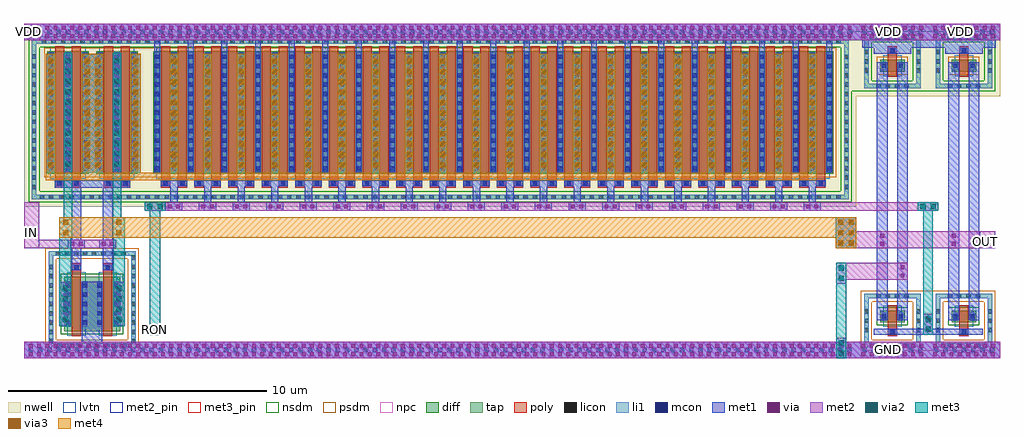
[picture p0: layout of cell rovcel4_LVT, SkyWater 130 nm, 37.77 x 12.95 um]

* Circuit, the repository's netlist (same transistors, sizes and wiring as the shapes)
** sch_path: /foss/designs/RO_Aging_UNICASS/LVT/rovcel4_LVT/rovcel4_LVT.sch
.subckt rovcel4_LVT VDD OUT GND RON IN
*.PININFO OUT:B RON:B IN:B GND:B VDD:B
M1 OUT IN GND GND sky130_fd_pr__nfet_01v8_lvt L=0.35 W=2.1 nf=1 m=2
M2 OUT IN net1 VDD sky130_fd_pr__pfet_01v8_lvt L=0.35 W=4.75 nf=1 m=4
M3 net1 RON VDD VDD sky130_fd_pr__pfet_01v8_lvt L=0.35 W=4.75 nf=1 m=40
* noconn #net2
x2 VDD OUT net2 RON GND VDD passgate_LVT
x3 VDD OUT GND RON GND VDD passgate_LVT
.ends

* expanding   symbol:  /foss/designs/RO_Aging_UNICASS/LVT/passgate_LVT/passgate_LVT.sym # of pins=6
** sym_path: /foss/designs/RO_Aging_UNICASS/LVT/passgate_LVT/passgate_LVT.sym
** sch_path: /foss/designs/RO_Aging_UNICASS/LVT/passgate_LVT/passgate_LVT.sch
.subckt passgate_LVT CLKN IN OUT CLK GND VDD
*.PININFO CLKN:B CLK:B IN:B OUT:B VDD:B GND:B
M3 IN CLK OUT GND sky130_fd_pr__nfet_01v8_lvt L=0.35 W=0.45 nf=1 m=1
M1 IN CLKN OUT VDD sky130_fd_pr__pfet_01v8_lvt L=0.35 W=0.45 nf=1 m=1
.ends

.end

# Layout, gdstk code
from math import pi, radians
import gdstk
lib = gdstk.Library(unit=1e-6, precision=1e-09)
def R(c, l, rs):  # rectangles x0, y0, x1, y1
    for r in rs: c.add(gdstk.rectangle(r[:2], r[2:], *l))
def A(c, l, x, y, w, h, nx, ny, dx, dy):  # array of equal rectangles
    R(c, l, [(x+i*dx, y+j*dy, x+i*dx+w, y+j*dy+h) for i in range(nx) for j in range(ny)])
def P(c, l, *ps):  # polygons
    for p in ps: c.add(gdstk.Polygon(p, *l))
nwell = (64, 20)
diff = (65, 20)
tap = (65, 44)
poly = (66, 20)
licon = (66, 44)
li1 = (67, 20)
mcon = (67, 44)
met1 = (68, 20)
via = (68, 44)
met2_pin = (69, 16)
met2 = (69, 20)
via2 = (69, 44)
met3_pin = (70, 16)
met3 = (70, 20)
via3 = (70, 44)
met4 = (71, 20)
nsdm = (93, 44)
psdm = (94, 20)
npc = (95, 20)
lvtn = (125, 44)

vias_gen_38 = lib.new_cell('vias_gen$38')
R(vias_gen_38, li1, [(0,0,32.205,0.64)])
A(vias_gen_38, mcon, 0.175, 0.235, 0.17, 0.17, 89, 1, 0.36, 0)
R(vias_gen_38, met1, [(0,0,32.205,0.64)])
A(vias_gen_38, via, 0.185, 0.085, 0.15, 0.15, 100, 2, 0.32, 0.32)
R(vias_gen_38, met2, [(0,0,32.205,0.64)])

pfet_4 = lib.new_cell('pfet$4')
R(pfet_4, nwell, [(-0.305,-0.72,1.255,5.13)])
R(pfet_4, diff, [(0,0,0.95,4.75)])
R(pfet_4, poly, [(0.3,-0.53,0.65,-0.2), (0.3,-0.2,0.65,4.95)])
A(pfet_4, licon, 0.065, 0.13, 0.17, 0.17, 1, 13, 0, 0.36)
A(pfet_4, licon, 0.715, 0.13, 0.17, 0.17, 1, 13, 0, 0.36)
R(pfet_4, licon, [(0.39,-0.45,0.56,-0.28)])
R(pfet_4, li1, [(0.31,-0.45,0.64,-0.28), (0.065,0.05,0.235,4.7), (0.715,0.05,0.885,4.7)])
A(pfet_4, mcon, 0.065, 0.13, 0.17, 0.17, 1, 13, 0, 0.36)
A(pfet_4, mcon, 0.715, 0.13, 0.17, 0.17, 1, 13, 0, 0.36)
R(pfet_4, mcon, [(0.39,-0.45,0.56,-0.28)])
R(pfet_4, met1, [(0.29,-0.48,0.66,-0.25), (0.035,0.07,0.265,4.68), (0.685,0.07,0.915,4.68)])
R(pfet_4, psdm, [(-0.125,-0.125,1.075,4.875)])
R(pfet_4, npc, [(0.29,-0.54,0.66,-0.19)])
R(pfet_4, lvtn, [(0.12,-0.18,0.83,4.93)])

vias_gen_32 = lib.new_cell('vias_gen$32')
R(vias_gen_32, met1, [(0,0,0.66,0.42)])
R(vias_gen_32, via, [(0.095,0.135,0.245,0.285), (0.415,0.135,0.565,0.285)])
R(vias_gen_32, met2, [(0,0,0.66,0.42)])

vias_gen_41 = lib.new_cell('vias_gen$41')
R(vias_gen_41, met2, [(0,0,0.8,1.2)])
A(vias_gen_41, via2, 0.1, 0.1, 0.2, 0.2, 1, 3, 0, 0.4)
A(vias_gen_41, via2, 0.5, 0.1, 0.2, 0.2, 1, 3, 0, 0.4)
R(vias_gen_41, met3, [(0,0,0.8,1.2)])
A(vias_gen_41, via3, 0.1, 0.1, 0.2, 0.2, 1, 3, 0, 0.4)
A(vias_gen_41, via3, 0.5, 0.1, 0.2, 0.2, 1, 3, 0, 0.4)
R(vias_gen_41, met4, [(0,0,0.8,1.2)])

vias_gen_33 = lib.new_cell('vias_gen$33')
R(vias_gen_33, met1, [(0,0,0.66,0.33)])
R(vias_gen_33, via, [(0.095,0.09,0.245,0.24), (0.415,0.09,0.565,0.24)])
R(vias_gen_33, met2, [(0,0,0.66,0.33)])

vias_gen_22 = lib.new_cell('vias_gen$22')
R(vias_gen_22, met1, [(0,0,4.61,0.33)])
A(vias_gen_22, via, 0.15, 0.09, 0.15, 0.15, 14, 1, 0.32, 0)
R(vias_gen_22, met2, [(0,0,4.61,0.33)])
A(vias_gen_22, via2, 0.205, 0.065, 0.2, 0.2, 11, 1, 0.4, 0)
R(vias_gen_22, met3, [(0,0,4.61,0.33)])
A(vias_gen_22, via3, 0.205, 0.065, 0.2, 0.2, 11, 1, 0.4, 0)
R(vias_gen_22, met4, [(0,0,4.61,0.33)])

vias_gen_36 = lib.new_cell('vias_gen$36')
R(vias_gen_36, met2, [(0,0,0.8,0.33)])
R(vias_gen_36, via2, [(0.1,0.065,0.3,0.265), (0.5,0.065,0.7,0.265)])
R(vias_gen_36, met3, [(0,0,0.8,0.33)])

vias_gen_24 = lib.new_cell('vias_gen$24')
R(vias_gen_24, met1, [(0,0,0.38,4.61)])
A(vias_gen_24, via, 0.115, 0.15, 0.15, 0.15, 1, 14, 0, 0.32)
R(vias_gen_24, met2, [(0,0,0.38,4.61)])
A(vias_gen_24, via2, 0.09, 0.205, 0.2, 0.2, 1, 11, 0, 0.4)
R(vias_gen_24, met3, [(0,0,0.38,4.61)])
A(vias_gen_24, via3, 0.09, 0.205, 0.2, 0.2, 1, 11, 0, 0.4)
R(vias_gen_24, met4, [(0,0,0.38,4.61)])

vias_gen_34 = lib.new_cell('vias_gen$34')
R(vias_gen_34, met3, [(0,0,0.5,0.8)])
R(vias_gen_34, via3, [(0.15,0.1,0.35,0.3), (0.15,0.5,0.35,0.7)])
R(vias_gen_34, met4, [(0,0,0.5,0.8)])

vias_gen = lib.new_cell('vias_gen')

vias_gen_16 = lib.new_cell('vias_gen$16')
R(vias_gen_16, met1, [(0,0,4.61,0.33)])
A(vias_gen_16, via, 0.15, 0.09, 0.15, 0.15, 14, 1, 0.32, 0)
R(vias_gen_16, met2, [(0,0,4.61,0.33)])
A(vias_gen_16, via2, 0.205, 0.065, 0.2, 0.2, 11, 1, 0.4, 0)
R(vias_gen_16, met3, [(0,0,4.61,0.33)])

vias_gen_31 = lib.new_cell('vias_gen$31')
R(vias_gen_31, met3, [(0,0,0.47,0.8)])
R(vias_gen_31, via3, [(0.135,0.1,0.335,0.3), (0.135,0.5,0.335,0.7)])
R(vias_gen_31, met4, [(0,0,0.47,0.8)])

vias_gen_23 = lib.new_cell('vias_gen$23')
R(vias_gen_23, met1, [(0,0,0.82,4.61)])
A(vias_gen_23, via, 0.175, 0.15, 0.15, 0.15, 1, 14, 0, 0.32)
A(vias_gen_23, via, 0.495, 0.15, 0.15, 0.15, 1, 14, 0, 0.32)
R(vias_gen_23, met2, [(0,0,0.82,4.61)])
A(vias_gen_23, via2, 0.11, 0.205, 0.2, 0.2, 1, 11, 0, 0.4)
A(vias_gen_23, via2, 0.51, 0.205, 0.2, 0.2, 1, 11, 0, 0.4)
R(vias_gen_23, met3, [(0,0,0.82,4.61)])
A(vias_gen_23, via3, 0.11, 0.205, 0.2, 0.2, 1, 11, 0, 0.4)
A(vias_gen_23, via3, 0.51, 0.205, 0.2, 0.2, 1, 11, 0, 0.4)
R(vias_gen_23, met4, [(0,0,0.82,4.61)])

vias_gen_7 = lib.new_cell('vias_gen$7')

vias_gen_6 = lib.new_cell('vias_gen$6')

pfet_2 = lib.new_cell('pfet$2')

vias_gen_2 = lib.new_cell('vias_gen$2')

vias_gen_10 = lib.new_cell('vias_gen$10')

vias_gen_12 = lib.new_cell('vias_gen$12')
R(vias_gen_12, met1, [(0,0,1.73,0.45)])
A(vias_gen_12, via, 0.15, 0.15, 0.15, 0.15, 5, 1, 0.32, 0)
R(vias_gen_12, met2, [(0,0,1.73,0.45)])
A(vias_gen_12, via2, 0.165, 0.125, 0.2, 0.2, 4, 1, 0.4, 0)
R(vias_gen_12, met3, [(0,0,1.73,0.45)])

nfet = lib.new_cell('nfet')
R(nfet, diff, [(0,0,0.95,2.1)])
R(nfet, poly, [(0.3,-0.2,0.65,2.3), (0.3,2.3,0.65,2.63)])
A(nfet, licon, 0.065, 0.245, 0.17, 0.17, 1, 5, 0, 0.36)
A(nfet, licon, 0.715, 0.245, 0.17, 0.17, 1, 5, 0, 0.36)
R(nfet, licon, [(0.39,2.38,0.56,2.55)])
R(nfet, li1, [(0.065,0.165,0.235,1.935), (0.715,0.165,0.885,1.935), (0.31,2.38,0.64,2.55)])
A(nfet, mcon, 0.065, 0.245, 0.17, 0.17, 1, 5, 0, 0.36)
A(nfet, mcon, 0.715, 0.245, 0.17, 0.17, 1, 5, 0, 0.36)
R(nfet, mcon, [(0.39,2.38,0.56,2.55)])
R(nfet, met1, [(0.035,0.185,0.265,1.915), (0.685,0.185,0.915,1.915), (0.29,2.35,0.66,2.58)])
R(nfet, nsdm, [(-0.125,-0.125,1.075,2.225)])
R(nfet, npc, [(0.29,2.29,0.66,2.64)])
R(nfet, lvtn, [(0.12,-0.18,0.83,2.28)])

nfet_2 = lib.new_cell('nfet$2')

vias_gen_37 = lib.new_cell('vias_gen$37')
R(vias_gen_37, met2, [(0,0,0.4,0.8)])
R(vias_gen_37, via2, [(0.1,0.1,0.3,0.3), (0.1,0.5,0.3,0.7)])
R(vias_gen_37, met3, [(0,0,0.4,0.8)])

vias_gen_43 = lib.new_cell('vias_gen$43')
R(vias_gen_43, met1, [(0,0,0.37,0.8)])
R(vias_gen_43, via, [(0.11,0.165,0.26,0.315), (0.11,0.485,0.26,0.635)])
R(vias_gen_43, met2, [(0,0,0.37,0.8)])
R(vias_gen_43, via2, [(0.085,0.1,0.285,0.3), (0.085,0.5,0.285,0.7)])
R(vias_gen_43, met3, [(0,0,0.37,0.8)])

rovcel4_lvt = lib.new_cell('rovcel4_LVT')
R(rovcel4_lvt, nwell, [(-23.85,4.965,8.355,11.745), (8.355,9.255,11.145,11.935), (11.125,9.255,13.915,11.935)])
R(rovcel4_lvt, diff, [(-21.345,0.16,-21.085,2.26), (9.275,0.505,10.225,0.955), (12.045,0.505,12.995,0.955), (9.275,10.2,10.225,10.65), (12.045,10.2,12.995,10.65)])
R(rovcel4_lvt, tap, [(-22.895,-0.475,-22.725,3.245), (-22.725,-0.475,-19.705,-0.305), (-19.705,-0.475,-19.535,3.245), (-22.725,3.075,-19.705,3.245), (-23.545,5.27,8.055,5.44), (-23.375,5.27,-19.495,5.44), (7.885,5.27,8.055,11.27), (-23.545,5.275,-23.375,11.275), (-23.545,11.27,8.055,11.44)])
P(rovcel4_lvt, tap, [(11.43,-0.475),(11.43,1.425),(11.6,1.425),(11.6,-0.305),(13.44,-0.305),(13.44,1.425),(11.43,1.425),(11.43,1.595),(13.61,1.595),(13.61,-0.475)],
  [(8.66,9.56),(8.66,11.46),(8.83,11.46),(8.83,9.73),(10.67,9.73),(10.67,11.46),(8.66,11.46),(8.66,11.63),(10.84,11.63),(10.84,9.56)],
  [(11.43,9.56),(11.43,11.46),(11.6,11.46),(11.6,9.73),(13.44,9.73),(13.44,11.46),(11.43,11.46),(11.43,11.63),(13.61,11.63),(13.61,9.56)],
  [(8.66,-0.475),(8.66,1.425),(8.83,1.425),(8.83,-0.305),(10.67,-0.305),(10.67,1.425),(8.66,1.425),(8.66,1.595),(10.84,1.595),(10.84,-0.475)])
R(rovcel4_lvt, poly, [(9.575,-0.025,9.925,0.305), (12.345,-0.025,12.695,0.305), (9.575,0.305,9.925,1.155), (12.345,0.305,12.695,1.155), (9.575,10,9.925,10.85), (12.345,10,12.695,10.85), (9.575,10.85,9.925,11.18), (12.345,10.85,12.695,11.18)])
A(rovcel4_lvt, licon, -21.81, -0.475, 0.17, 0.17, 3, 1, 0.36, 0)
A(rovcel4_lvt, licon, 9.125, -0.475, 0.17, 0.17, 4, 2, 0.36, 1.9)
A(rovcel4_lvt, licon, 11.895, -0.475, 0.17, 0.17, 4, 2, 0.36, 1.9)
A(rovcel4_lvt, licon, -22.895, 0.04, 0.17, 0.17, 1, 8, 0, 0.36)
A(rovcel4_lvt, licon, -19.705, 0.04, 0.17, 0.17, 1, 8, 0, 0.36)
A(rovcel4_lvt, licon, 8.66, 0.115, 0.17, 0.17, 1, 3, 0, 0.36)
A(rovcel4_lvt, licon, 10.67, 0.115, 0.17, 0.17, 1, 3, 0, 0.36)
A(rovcel4_lvt, licon, 11.43, 0.115, 0.17, 0.17, 1, 3, 0, 0.36)
A(rovcel4_lvt, licon, 13.44, 0.115, 0.17, 0.17, 1, 3, 0, 0.36)
A(rovcel4_lvt, licon, -22.62, 3.075, 0.17, 0.17, 3, 1, 0.345, 0)
A(rovcel4_lvt, licon, -21.675, 5.27, 0.17, 0.17, 7, 2, 0.36, 6)
A(rovcel4_lvt, licon, -18.79, 5.27, 0.17, 0.17, 3, 2, 0.38, 6)
A(rovcel4_lvt, licon, -17.67, 5.27, 0.17, 0.17, 9, 2, 0.36, 6)
A(rovcel4_lvt, licon, -14.03, 5.27, 0.17, 0.17, 8, 2, 0.36, 6)
A(rovcel4_lvt, licon, -10.725, 5.27, 0.17, 0.17, 3, 2, 0.38, 6)
A(rovcel4_lvt, licon, -9.605, 5.27, 0.17, 0.17, 9, 2, 0.36, 6)
A(rovcel4_lvt, licon, -5.965, 5.27, 0.17, 0.17, 8, 2, 0.36, 6)
A(rovcel4_lvt, licon, -3.045, 5.27, 0.17, 0.17, 6, 2, 0.36, 6)
A(rovcel4_lvt, licon, -0.46, 5.27, 0.17, 0.17, 3, 2, 0.38, 6)
A(rovcel4_lvt, licon, 0.66, 5.27, 0.17, 0.17, 9, 2, 0.36, 6)
A(rovcel4_lvt, licon, 4.3, 5.27, 0.17, 0.17, 8, 2, 0.36, 6)
A(rovcel4_lvt, licon, 7.885, 5.65, 0.17, 0.17, 1, 15, 0, 0.36)
A(rovcel4_lvt, licon, -23.545, 5.655, 0.17, 0.17, 1, 15, 0, 0.36)
A(rovcel4_lvt, licon, 9.125, 9.56, 0.17, 0.17, 4, 2, 0.36, 1.9)
A(rovcel4_lvt, licon, 11.895, 9.56, 0.17, 0.17, 4, 2, 0.36, 1.9)
A(rovcel4_lvt, licon, 8.66, 10.15, 0.17, 0.17, 1, 3, 0, 0.36)
A(rovcel4_lvt, licon, 10.67, 10.15, 0.17, 0.17, 1, 3, 0, 0.36)
A(rovcel4_lvt, licon, 11.43, 10.15, 0.17, 0.17, 1, 3, 0, 0.36)
A(rovcel4_lvt, licon, 13.44, 10.15, 0.17, 0.17, 1, 3, 0, 0.36)
A(rovcel4_lvt, licon, -22.795, 11.27, 0.17, 0.17, 3, 1, 0.38, 0)
R(rovcel4_lvt, licon, [(-20.73,-0.48,-20.56,-0.31), (-22.535,-0.475,-22.365,-0.305), (-22.175,-0.475,-22.005,-0.305), (-20.385,-0.475,-20.215,-0.305), (-20.045,-0.475,-19.875,-0.305), (-22.895,-0.305,-22.725,-0.135), (-19.705,-0.305,-19.535,-0.135), (9.665,0.055,9.835,0.225), (12.435,0.055,12.605,0.225), (9.34,0.645,9.51,0.815), (9.99,0.645,10.16,0.815), (12.11,0.645,12.28,0.815), (12.76,0.645,12.93,0.815), (-19.705,2.925,-19.535,3.095), (-20.86,3.07,-20.69,3.24), (-21.575,3.075,-21.405,3.245), (-21.225,3.075,-21.055,3.245), (-20.47,3.075,-20.3,3.245), (-20.085,3.075,-19.915,3.245), (-23.245,5.27,-23.075,5.44), (-22.885,5.27,-22.715,5.44), (-22.49,5.27,-22.32,5.44), (-22.49,5.27,-22.32,5.44), (-22.095,5.27,-21.925,5.44), (-22.095,5.27,-21.925,5.44), (-19.15,5.27,-18.98,5.44), (-14.41,5.27,-14.24,5.44), (-11.085,5.27,-10.915,5.44), (-6.345,5.27,-6.175,5.44), (-0.82,5.27,-0.65,5.44), (3.92,5.27,4.09,5.44), (7.19,5.27,7.36,5.44), (7.585,5.27,7.755,5.44), (9.34,10.34,9.51,10.51), (9.99,10.34,10.16,10.51), (12.11,10.34,12.28,10.51), (12.76,10.34,12.93,10.51), (9.665,10.93,9.835,11.1), (12.435,10.93,12.605,11.1), (-23.155,11.27,-22.985,11.44), (-19.15,11.27,-18.98,11.44), (-14.41,11.27,-14.24,11.44), (-11.085,11.27,-10.915,11.44), (-6.345,11.27,-6.175,11.44), (-0.82,11.27,-0.65,11.44), (3.92,11.27,4.09,11.44), (7.19,11.27,7.36,11.44), (7.585,11.27,7.755,11.44)])
R(rovcel4_lvt, li1, [(8.355,-0.895,11.145,-0.255), (11.125,-0.895,13.915,-0.255), (-22.895,-0.475,-22.725,3.245), (-22.725,-0.475,-19.705,-0.305), (-19.705,-0.475,-19.535,3.245), (9.585,0.055,9.915,0.225), (12.355,0.055,12.685,0.225), (9.34,0.565,9.51,0.895), (9.99,0.565,10.16,0.895), (12.11,0.565,12.28,0.895), (12.76,0.565,12.93,0.895), (-22.725,3.075,-19.705,3.245), (-23.545,5.27,8.055,5.44), (7.885,5.27,8.055,11.27), (-23.545,5.275,-23.375,11.275), (9.34,10.26,9.51,10.59), (9.99,10.26,10.16,10.59), (12.11,10.26,12.28,10.59), (12.76,10.26,12.93,10.59), (9.585,10.93,9.915,11.1), (12.355,10.93,12.685,11.1), (-23.545,11.27,8.055,11.44), (8.355,11.415,11.145,12.055), (11.125,11.415,13.915,12.055)])
P(rovcel4_lvt, li1, [(11.43,-0.475),(11.43,1.425),(11.6,1.425),(11.6,-0.305),(13.44,-0.305),(13.44,1.425),(11.43,1.425),(11.43,1.595),(13.61,1.595),(13.61,-0.475)],
  [(8.66,9.56),(8.66,11.46),(8.83,11.46),(8.83,9.73),(10.67,9.73),(10.67,11.46),(8.66,11.46),(8.66,11.63),(10.84,11.63),(10.84,9.56)],
  [(11.43,9.56),(11.43,11.46),(11.6,11.46),(11.6,9.73),(13.44,9.73),(13.44,11.46),(11.43,11.46),(11.43,11.63),(13.61,11.63),(13.61,9.56)],
  [(8.66,-0.475),(8.66,1.425),(8.83,1.425),(8.83,-0.305),(10.67,-0.305),(10.67,1.425),(8.66,1.425),(8.66,1.595),(10.84,1.595),(10.84,-0.475)])
A(rovcel4_lvt, mcon, 8.585, -0.66, 0.17, 0.17, 7, 2, 0.36, 12.31)
A(rovcel4_lvt, mcon, 11.355, -0.66, 0.17, 0.17, 7, 2, 0.36, 12.31)
R(rovcel4_lvt, mcon, [(9.665,0.055,9.835,0.225), (12.435,0.055,12.605,0.225), (9.34,0.645,9.51,0.815), (9.99,0.645,10.16,0.815), (12.11,0.645,12.28,0.815), (12.76,0.645,12.93,0.815), (9.34,10.34,9.51,10.51), (9.99,10.34,10.16,10.51), (12.11,10.34,12.28,10.51), (12.76,10.34,12.93,10.51), (9.665,10.93,9.835,11.1), (12.435,10.93,12.605,11.1)])
A(rovcel4_lvt, met1, -18.185, 5.145, 0.28, 0.845, 20, 1, 1.3, 0)
A(rovcel4_lvt, met1, -18.81, 10.92, 0.23, 0.495, 21, 1, 1.3, 0)
R(rovcel4_lvt, met1, [(8.355,-0.895,11.145,-0.255), (11.125,-0.895,13.915,-0.255), (-21.61,-0.255,-20.82,2.075), (9.025,0.025,10.475,0.255), (9.565,0.025,9.935,0.255), (10.475,0.025,11.795,0.255), (11.795,0.025,13.245,0.255), (12.335,0.025,12.705,0.255), (9.15,0.585,9.57,10.57), (9.28,0.585,9.57,0.875), (9.93,0.585,10.35,10.57), (9.93,0.585,10.22,0.875), (11.92,0.585,12.34,10.57), (12.05,0.585,12.34,0.875), (12.7,0.585,13.12,10.57), (12.7,0.585,12.99,0.875), (-22.005,2.74,-21.635,3.37), (-20.795,2.74,-20.425,3.37), (-22.005,3.7,-21.635,5.99), (-20.795,3.7,-20.425,5.99), (-22.655,5.7,-19.745,5.99), (9.28,10.28,9.57,10.57), (9.93,10.28,10.22,10.57), (12.05,10.28,12.34,10.57), (12.7,10.28,12.99,10.57), (9.025,10.9,10.475,11.13), (9.565,10.9,9.935,11.13), (11.795,10.9,13.245,11.13), (12.335,10.9,12.705,11.13), (8.58,11.13,13.76,11.415), (8.355,11.415,11.145,12.055), (11.125,11.415,13.915,12.055)])
A(rovcel4_lvt, via, 8.555, -0.81, 0.15, 0.15, 8, 2, 0.32, 0.32)
A(rovcel4_lvt, via, 11.325, -0.81, 0.15, 0.15, 8, 2, 0.32, 0.32)
A(rovcel4_lvt, via, 8.555, 11.5, 0.15, 0.15, 8, 2, 0.32, 0.32)
A(rovcel4_lvt, via, 11.325, 11.5, 0.15, 0.15, 8, 2, 0.32, 0.32)
R(rovcel4_lvt, met2_pin, [(-23.85,-0.895,8.355,-0.255), (8.355,-0.895,11.145,-0.255), (11.125,-0.895,13.915,-0.255), (-23.85,3.37,-23.26,5.15), (13.14,3.37,13.73,4.025), (-23.85,11.415,8.355,12.055), (8.355,11.415,11.145,12.055), (11.125,11.415,13.915,12.055)])
R(rovcel4_lvt, met2, [(8.355,-0.895,11.145,-0.255), (11.125,-0.895,13.915,-0.255), (7.97,2.14,9.93,2.8), (8.355,3.365,13.73,4.025), (-23.85,3.37,-20.28,3.7), (-23.85,3.7,-23.26,5.15), (-18.38,4.815,10.735,5.145), (8.355,11.415,11.145,12.055), (11.125,11.415,13.915,12.055)])
R(rovcel4_lvt, met3_pin, [(-18.98,0.005,-18.58,0.405), (-18.98,0.005,-18.58,0.405)])
R(rovcel4_lvt, met3, [(7.57,-0.095,7.97,2), (-18.98,0.005,-18.58,4.815), (10.95,0.825,11.32,4.815), (-22.48,2.075,-22.03,3.77), (-22.31,4.57,-21.98,6.31), (-20.42,4.57,-20.09,6.31)])
P(rovcel4_lvt, met3, [(-20.4,2.075),(-20.4,3.77),(-20.315,3.77),(-19.95,3.77),(-19.95,2.075)])
R(rovcel4_lvt, met4, [(-21.98,3.77,7.555,4.57), (-23.01,5.99,6.82,6.29)])
R(rovcel4_lvt, nsdm, [(-21.22,0.035,-21.21,2.385), (9.15,0.38,10.35,1.08), (11.92,0.38,13.12,1.08), (-23.67,5.145,8.18,5.565), (-23.25,5.145,8.18,5.565), (-23.67,5.565,-23.25,11.145), (7.76,5.565,8.18,11.145), (8.18,9.435,8.535,11.755), (10.965,9.435,11.305,11.755), (-23.67,11.145,8.18,11.565)])
P(rovcel4_lvt, nsdm, [(8.535,9.435),(8.535,11.335),(8.955,11.335),(8.955,9.855),(10.545,9.855),(10.545,11.335),(8.535,11.335),(8.535,11.755),(10.965,11.755),(10.965,9.435)],
  [(11.305,9.435),(11.305,11.335),(11.725,11.335),(11.725,9.855),(13.315,9.855),(13.315,11.335),(11.305,11.335),(11.305,11.755),(13.735,11.755),(13.735,9.435)])
R(rovcel4_lvt, psdm, [(-23.02,-0.6,-22.6,3.37), (-22.6,-0.6,-19.83,-0.18), (-19.83,-0.6,-19.41,3.37), (10.965,-0.6,11.305,1.72), (-22.6,2.95,-19.83,3.37), (-21.22,6.115,-18.97,11.115), (9.15,10.075,10.35,10.775), (11.92,10.075,13.12,10.775)])
P(rovcel4_lvt, psdm, [(11.305,-0.6),(11.305,1.3),(11.725,1.3),(11.725,-0.18),(13.315,-0.18),(13.315,1.3),(11.305,1.3),(11.305,1.72),(13.735,1.72),(13.735,-0.6)],
  [(8.535,-0.6),(8.535,1.3),(8.955,1.3),(8.955,-0.18),(10.545,-0.18),(10.545,1.3),(8.535,1.3),(8.535,1.72),(10.965,1.72),(10.965,-0.6)])
R(rovcel4_lvt, npc, [(9.565,-0.035,9.935,0.315), (12.335,-0.035,12.705,0.315), (9.565,10.84,9.935,11.19), (12.335,10.84,12.705,11.19)])
R(rovcel4_lvt, lvtn, [(9.395,0.325,10.105,1.135), (12.165,0.325,12.875,1.135), (9.395,10.02,10.105,10.83), (12.165,10.02,12.875,10.83)])
rovcel4_lvt.add(gdstk.Reference(vias_gen_38, (-23.85,-0.895)))
rovcel4_lvt.add(gdstk.Reference(pfet_4, (-5.845,6.24)))
rovcel4_lvt.add(gdstk.Reference(vias_gen_38, (-23.85,11.415)))
rovcel4_lvt.add(gdstk.Reference(vias_gen_32, (9.57,3.365), rotation=pi/2))
rovcel4_lvt.add(gdstk.Reference(vias_gen_32, (12.34,3.365), rotation=pi/2))
rovcel4_lvt.add(gdstk.Reference(vias_gen_41, (7.555,3.37)))
rovcel4_lvt.add(gdstk.Reference(pfet_4, (-6.495,6.24)))
rovcel4_lvt.add(gdstk.Reference(vias_gen_33, (-5.38,4.815)))
rovcel4_lvt.add(gdstk.Reference(vias_gen_22, (-4.88,6.29), rotation=pi/2))
rovcel4_lvt.add(gdstk.Reference(pfet_4, (1.955,6.24)))
rovcel4_lvt.add(gdstk.Reference(pfet_4, (2.605,6.24)))
rovcel4_lvt.add(gdstk.Reference(vias_gen_22, (1.62,6.29), rotation=pi/2))
rovcel4_lvt.add(gdstk.Reference(pfet_4, (1.305,6.24)))
rovcel4_lvt.add(gdstk.Reference(pfet_4, (0.655,6.24)))
rovcel4_lvt.add(gdstk.Reference(vias_gen_22, (0.32,6.29), rotation=pi/2))
rovcel4_lvt.add(gdstk.Reference(pfet_4, (-0.645,6.24)))
rovcel4_lvt.add(gdstk.Reference(pfet_4, (0.005,6.24)))
rovcel4_lvt.add(gdstk.Reference(vias_gen_22, (-0.98,6.29), rotation=pi/2))
rovcel4_lvt.add(gdstk.Reference(pfet_4, (-1.295,6.24)))
rovcel4_lvt.add(gdstk.Reference(pfet_4, (-1.945,6.24)))
rovcel4_lvt.add(gdstk.Reference(vias_gen_22, (-2.28,6.29), rotation=pi/2))
rovcel4_lvt.add(gdstk.Reference(pfet_4, (-3.245,6.24)))
rovcel4_lvt.add(gdstk.Reference(pfet_4, (-2.595,6.24)))
rovcel4_lvt.add(gdstk.Reference(vias_gen_22, (-3.58,6.29), rotation=pi/2))
rovcel4_lvt.add(gdstk.Reference(pfet_4, (-3.895,6.24)))
rovcel4_lvt.add(gdstk.Reference(pfet_4, (-4.545,6.24)))
rovcel4_lvt.add(gdstk.Reference(pfet_4, (6.505,6.24)))
rovcel4_lvt.add(gdstk.Reference(vias_gen_22, (6.82,6.29), rotation=pi/2))
rovcel4_lvt.add(gdstk.Reference(pfet_4, (5.855,6.24)))
rovcel4_lvt.add(gdstk.Reference(vias_gen_22, (5.52,6.29), rotation=pi/2))
rovcel4_lvt.add(gdstk.Reference(pfet_4, (4.555,6.24)))
rovcel4_lvt.add(gdstk.Reference(pfet_4, (5.205,6.24)))
rovcel4_lvt.add(gdstk.Reference(vias_gen_33, (-4.08,4.815)))
rovcel4_lvt.add(gdstk.Reference(vias_gen_33, (-2.78,4.815)))
rovcel4_lvt.add(gdstk.Reference(vias_gen_33, (-1.48,4.815)))
rovcel4_lvt.add(gdstk.Reference(vias_gen_33, (-0.18,4.815)))
rovcel4_lvt.add(gdstk.Reference(vias_gen_33, (1.12,4.815)))
rovcel4_lvt.add(gdstk.Reference(vias_gen_33, (2.42,4.815)))
rovcel4_lvt.add(gdstk.Reference(vias_gen_33, (3.72,4.815)))
rovcel4_lvt.add(gdstk.Reference(vias_gen_33, (5.02,4.815)))
rovcel4_lvt.add(gdstk.Reference(vias_gen_33, (6.32,4.815)))
rovcel4_lvt.add(gdstk.Reference(vias_gen_22, (4.22,6.29), rotation=pi/2))
rovcel4_lvt.add(gdstk.Reference(pfet_4, (3.905,6.24)))
rovcel4_lvt.add(gdstk.Reference(pfet_4, (3.255,6.24)))
rovcel4_lvt.add(gdstk.Reference(vias_gen_22, (2.92,6.29), rotation=pi/2))
rovcel4_lvt.add(gdstk.Reference(vias_gen_36, (10.735,4.815)))
rovcel4_lvt.add(gdstk.Reference(pfet_4, (-5.195,6.24)))
rovcel4_lvt.add(gdstk.Reference(pfet_4, (-9.745,6.24)))
rovcel4_lvt.add(gdstk.Reference(vias_gen_22, (-10.08,6.29), rotation=pi/2))
rovcel4_lvt.add(gdstk.Reference(pfet_4, (-11.045,6.24)))
rovcel4_lvt.add(gdstk.Reference(pfet_4, (-10.395,6.24)))
rovcel4_lvt.add(gdstk.Reference(vias_gen_22, (-11.38,6.29), rotation=pi/2))
rovcel4_lvt.add(gdstk.Reference(pfet_4, (-11.695,6.24)))
rovcel4_lvt.add(gdstk.Reference(pfet_4, (-12.345,6.24)))
rovcel4_lvt.add(gdstk.Reference(vias_gen_22, (-12.68,6.29), rotation=pi/2))
rovcel4_lvt.add(gdstk.Reference(pfet_4, (-13.645,6.24)))
rovcel4_lvt.add(gdstk.Reference(pfet_4, (-12.995,6.24)))
rovcel4_lvt.add(gdstk.Reference(vias_gen_22, (-13.98,6.29), rotation=pi/2))
rovcel4_lvt.add(gdstk.Reference(pfet_4, (-14.295,6.24)))
rovcel4_lvt.add(gdstk.Reference(pfet_4, (-14.945,6.24)))
rovcel4_lvt.add(gdstk.Reference(vias_gen_22, (-15.28,6.29), rotation=pi/2))
rovcel4_lvt.add(gdstk.Reference(pfet_4, (-16.245,6.24)))
rovcel4_lvt.add(gdstk.Reference(pfet_4, (-15.595,6.24)))
rovcel4_lvt.add(gdstk.Reference(vias_gen_22, (-16.58,6.29), rotation=pi/2))
rovcel4_lvt.add(gdstk.Reference(vias_gen_22, (-17.88,6.29), rotation=pi/2))
rovcel4_lvt.add(gdstk.Reference(pfet_4, (-16.895,6.24)))
rovcel4_lvt.add(gdstk.Reference(pfet_4, (-17.545,6.24)))
rovcel4_lvt.add(gdstk.Reference(pfet_4, (-18.845,6.24)))
rovcel4_lvt.add(gdstk.Reference(pfet_4, (-18.195,6.24)))
rovcel4_lvt.add(gdstk.Reference(vias_gen_24, (-19.72,6.29)))
rovcel4_lvt.add(gdstk.Reference(vias_gen_34, (-22.48,3.77)))
rovcel4_lvt.add(gdstk.Reference(vias_gen, (-7.835,7.67)))
rovcel4_lvt.add(gdstk.Reference(vias_gen_16, (-21.98,6.31), rotation=pi/2))
rovcel4_lvt.add(gdstk.Reference(vias_gen_33, (-18.38,4.815)))
rovcel4_lvt.add(gdstk.Reference(vias_gen_33, (-17.08,4.815)))
rovcel4_lvt.add(gdstk.Reference(vias_gen_33, (-15.78,4.815)))
rovcel4_lvt.add(gdstk.Reference(vias_gen_33, (-14.48,4.815)))
rovcel4_lvt.add(gdstk.Reference(vias_gen_33, (-13.18,4.815)))
rovcel4_lvt.add(gdstk.Reference(vias_gen_33, (-11.88,4.815)))
rovcel4_lvt.add(gdstk.Reference(vias_gen_33, (-10.58,4.815)))
rovcel4_lvt.add(gdstk.Reference(vias_gen_33, (-9.28,4.815)))
rovcel4_lvt.add(gdstk.Reference(vias_gen_33, (-7.98,4.815)))
rovcel4_lvt.add(gdstk.Reference(vias_gen_33, (-6.68,4.815)))
rovcel4_lvt.add(gdstk.Reference(pfet_4, (-22.945,6.24)))
rovcel4_lvt.add(gdstk.Reference(vias_gen_16, (-20.09,6.31), rotation=pi/2))
rovcel4_lvt.add(gdstk.Reference(vias_gen_31, (-20.42,3.77)))
rovcel4_lvt.add(gdstk.Reference(pfet_4, (-22.295,6.24)))
rovcel4_lvt.add(gdstk.Reference(pfet_4, (-21.055,6.24)))
rovcel4_lvt.add(gdstk.Reference(pfet_4, (-20.405,6.24)))
rovcel4_lvt.add(gdstk.Reference(vias_gen_23, (-21.61,6.29)))
rovcel4_lvt.add(gdstk.Reference(vias_gen_24, (-23.01,6.29)))
rovcel4_lvt.add(gdstk.Reference(vias_gen_22, (-6.18,6.29), rotation=pi/2))
rovcel4_lvt.add(gdstk.Reference(pfet_4, (-9.095,6.24)))
rovcel4_lvt.add(gdstk.Reference(vias_gen_36, (-19.18,4.815)))
rovcel4_lvt.add(gdstk.Reference(pfet_4, (-7.145,6.24)))
rovcel4_lvt.add(gdstk.Reference(vias_gen_22, (-7.48,6.29), rotation=pi/2))
rovcel4_lvt.add(gdstk.Reference(pfet_4, (-8.445,6.24)))
rovcel4_lvt.add(gdstk.Reference(pfet_4, (-7.795,6.24)))
rovcel4_lvt.add(gdstk.Reference(vias_gen_22, (-8.78,6.29), rotation=pi/2))
rovcel4_lvt.add(gdstk.Reference(vias_gen_33, (-22.15,3.37)))
rovcel4_lvt.add(gdstk.Reference(vias_gen_7, (-5.965,-3.4), rotation=pi/2))
rovcel4_lvt.add(gdstk.Reference(vias_gen_6, (-6.775,-0.34)))
rovcel4_lvt.add(gdstk.Reference(vias_gen_33, (-20.94,3.37)))
rovcel4_lvt.add(gdstk.Reference(vias_gen_6, (-5.87,-0.34)))
rovcel4_lvt.add(gdstk.Reference(vias_gen, (-7.845,-4.64)))
rovcel4_lvt.add(gdstk.Reference(pfet_2, (-6.27,2.495)))
rovcel4_lvt.add(gdstk.Reference(vias_gen_2, (-6.405,0.6)))
rovcel4_lvt.add(gdstk.Reference(vias_gen_10, (-5.955,2.565), rotation=pi/2))
rovcel4_lvt.add(gdstk.Reference(pfet_2, (-6.92,2.495)))
rovcel4_lvt.add(gdstk.Reference(vias_gen_12, (-22.03,0.345), rotation=pi/2))
rovcel4_lvt.add(gdstk.Reference(vias_gen_12, (-19.95,0.345), rotation=pi/2))
rovcel4_lvt.add(gdstk.Reference(nfet, (-20.135,0.16), rotation=pi, x_reflection=True))
rovcel4_lvt.add(gdstk.Reference(nfet, (-21.345,0.16), rotation=pi, x_reflection=True))
rovcel4_lvt.add(gdstk.Reference(nfet_2, (-5.225,-3.585), rotation=pi, x_reflection=True))
rovcel4_lvt.add(gdstk.Reference(vias_gen_10, (-4.065,2.565), rotation=pi/2))
rovcel4_lvt.add(gdstk.Reference(vias_gen_2, (-4.395,0.6)))
rovcel4_lvt.add(gdstk.Reference(vias_gen_7, (-3.955,-3.4), rotation=pi/2))
rovcel4_lvt.add(gdstk.Reference(vias_gen_6, (-4.86,-0.34)))
rovcel4_lvt.add(gdstk.Reference(pfet_2, (-4.38,2.49)))
rovcel4_lvt.add(gdstk.Reference(vias_gen_6, (-3.945,-0.34)))
rovcel4_lvt.add(gdstk.Reference(nfet_2, (-4.205,-3.585), rotation=pi, x_reflection=True))
rovcel4_lvt.add(gdstk.Reference(vias_gen_32, (10.35,2.14), rotation=pi/2))
rovcel4_lvt.add(gdstk.Reference(vias_gen_37, (7.57,2)))
rovcel4_lvt.add(gdstk.Reference(vias_gen_43, (10.95,0.025)))
rovcel4_lvt.add(gdstk.Reference(pfet_2, (-5.03,2.49)))
rovcel4_lvt.add(gdstk.Reference(vias_gen_37, (7.57,-0.895)))
rovcel4_lvt.add(gdstk.Label('GND', (9.62,-0.565), layer=69, texttype=5))
rovcel4_lvt.add(gdstk.Label('IN', (-23.565,3.98), layer=69, texttype=5))
rovcel4_lvt.add(gdstk.Label('VDD', (-23.69,11.74), layer=69, texttype=5))
rovcel4_lvt.add(gdstk.Label('VDD', (9.62,11.76), layer=69, texttype=5))
rovcel4_lvt.add(gdstk.Label('VDD', (12.39,11.76), layer=69, texttype=5))
rovcel4_lvt.add(gdstk.Label('VDD', (8.55,11.74), layer=69, texttype=5))
rovcel4_lvt.add(gdstk.Label('OUT', (13.37,3.635), layer=69, texttype=5))
rovcel4_lvt.add(gdstk.Label('RON', (-18.795,0.23), layer=70, texttype=5))

lib.write_gds('rovcel4_LVT.gds')
